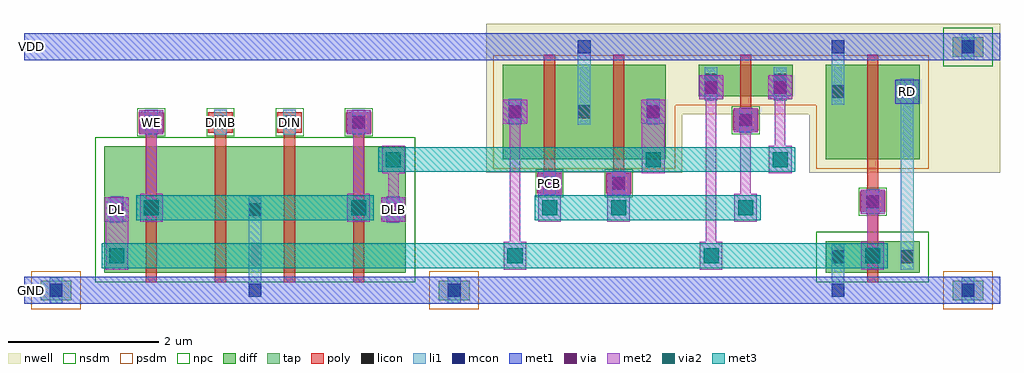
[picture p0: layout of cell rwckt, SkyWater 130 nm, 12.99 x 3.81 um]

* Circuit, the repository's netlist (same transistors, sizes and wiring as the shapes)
.subckt rwckt dl dlb we din dinb pcb rd vdd vss
XXPD1 dl pcb vdd vdd sky130_fd_pr__pfet_01v8 L=0.15 W=1.26 nf=1 m=1
XXPD2 dlb pcb vdd vdd sky130_fd_pr__pfet_01v8 L=0.15 W=1.26 nf=1 m=1
XXPE dl pcb dlb vdd sky130_fd_pr__pfet_01v8 L=0.15 W=0.42 nf=1 m=1
XXW1 dl we w1 vss sky130_fd_pr__nfet_01v8 L=0.15 W=1.68 nf=1 m=1
XXW2 w1 dinb vss vss sky130_fd_pr__nfet_01v8 L=0.15 W=1.68 nf=1 m=1
XXW3 dlb we w2 vss sky130_fd_pr__nfet_01v8 L=0.15 W=1.68 nf=1 m=1
XXW4 w2 din vss vss sky130_fd_pr__nfet_01v8 L=0.15 W=1.68 nf=1 m=1
XXSA_XP rd dl vdd vdd sky130_fd_pr__pfet_01v8 L=0.15 W=1.26 nf=1 m=1
XXSA_XN rd dl vss vss sky130_fd_pr__nfet_01v8 L=0.15 W=0.42 nf=1 m=1
.ends

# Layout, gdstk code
import gdstk
lib = gdstk.Library(unit=1e-6, precision=1e-09)
def R(c, l, rs):  # rectangles x0, y0, x1, y1
    for r in rs: c.add(gdstk.rectangle(r[:2], r[2:], *l))
def A(c, l, x, y, w, h, nx, ny, dx, dy):  # array of equal rectangles
    R(c, l, [(x+i*dx, y+j*dy, x+i*dx+w, y+j*dy+h) for i in range(nx) for j in range(ny)])
nwell = (64, 20)
diff = (65, 20)
tap = (65, 44)
poly = (66, 20)
licon = (66, 44)
li1 = (67, 20)
mcon = (67, 44)
met1 = (68, 20)
via = (68, 44)
met2 = (69, 20)
via2 = (69, 44)
met3 = (70, 20)
nsdm = (93, 44)
psdm = (94, 20)
npc = (95, 20)

tap_ = lib.new_cell('tap')
R(tap_, nwell, [(0,2.1,0.85,3.55)])
R(tap_, tap, [(0.22,-0.13,0.63,0.13), (0.22,3.11,0.63,3.37)])
R(tap_, licon, [(0.34,-0.085,0.51,0.085), (0.34,3.155,0.51,3.325)])
R(tap_, li1, [(0.34,-0.175,0.51,0.175), (0.34,3.065,0.51,3.415)])
R(tap_, mcon, [(0.34,-0.085,0.51,0.085), (0.34,3.155,0.51,3.325)])
R(tap_, met1, [(0,-0.18,0.85,0.18), (0,3.06,0.85,3.42)])
R(tap_, nsdm, [(0.095,2.985,0.755,3.495)])
R(tap_, psdm, [(0.095,-0.255,0.755,0.255)])
tap_.add(gdstk.Label('VDD', (0.1,3.24), layer=68, texttype=5))
tap_.add(gdstk.Label('GND', (0.1,0), layer=68, texttype=5))

rw_sa = lib.new_cell('rw_sa')
R(rw_sa, nwell, [(0,1.565,1.69,3.55)])
R(rw_sa, diff, [(0.22,0.235,1.47,0.655), (0.22,1.745,1.47,3.005)])
R(rw_sa, poly, [(0.77,0.105,0.92,1.045), (0.68,1.045,1.01,1.315), (0.77,1.315,0.92,3.135)])
R(rw_sa, licon, [(0.3,0.36,0.47,0.53), (1.22,0.36,1.39,0.53), (0.76,1.095,0.93,1.265), (0.3,2.56,0.47,2.73), (1.22,2.56,1.39,2.73)])
R(rw_sa, li1, [(0.3,-0.085,0.47,0.62), (1.22,0.27,1.39,2.82), (0.76,1.015,0.93,1.345), (0.3,2.47,0.47,3.325)])
R(rw_sa, mcon, [(0.3,-0.085,0.47,0.085), (1.22,2.56,1.39,2.73), (0.3,3.155,0.47,3.325)])
R(rw_sa, met1, [(0,-0.18,1.69,0.18), (1.145,2.485,1.465,2.805), (0,3.06,1.69,3.42)])
R(rw_sa, nsdm, [(0.095,0.11,1.595,0.78)])
R(rw_sa, psdm, [(0.095,1.62,1.595,3.13)])
R(rw_sa, npc, [(0.66,0.995,1.03,1.365)])
rw_sa.add(gdstk.Label('A', (0.845,1.18), layer=67, texttype=5))
rw_sa.add(gdstk.Label('Y', (1.305,2.645), layer=68, texttype=5))
rw_sa.add(gdstk.Label('VDD', (0.1,3.24), layer=68, texttype=5))
rw_sa.add(gdstk.Label('GND', (0.1,0), layer=68, texttype=5))

rw_eq = lib.new_cell('rw_eq')
R(rw_eq, nwell, [(0,2.34,1.69,3.55)])
R(rw_eq, diff, [(0.22,2.585,1.47,3.005)])
R(rw_eq, poly, [(0.68,2.13,1.01,2.4), (0.77,2.4,0.92,3.135)])
R(rw_eq, licon, [(0.76,2.18,0.93,2.35), (0.3,2.71,0.47,2.88), (1.22,2.71,1.39,2.88)])
R(rw_eq, li1, [(0.76,2.1,0.93,2.43), (0.3,2.525,0.47,2.97), (1.22,2.525,1.39,2.97)])
R(rw_eq, met1, [(0,-0.18,1.69,0.18), (0,3.06,1.69,3.42)])
R(rw_eq, psdm, [(0.095,2.46,1.595,3.13)])
R(rw_eq, npc, [(0.66,2.08,1.03,2.45)])
rw_eq.add(gdstk.Label('PCB', (0.845,2.265), layer=67, texttype=5))
rw_eq.add(gdstk.Label('DL', (0.385,2.7), layer=67, texttype=5))
rw_eq.add(gdstk.Label('DLB', (1.305,2.7), layer=67, texttype=5))
rw_eq.add(gdstk.Label('VDD', (0.1,3.24), layer=68, texttype=5))
rw_eq.add(gdstk.Label('GND', (0.1,0), layer=68, texttype=5))

rw_pre = lib.new_cell('rw_pre')
R(rw_pre, nwell, [(0,1.565,2.61,3.55)])
R(rw_pre, diff, [(0.22,1.745,2.39,3.005)])
R(rw_pre, poly, [(0.68,1.29,1.01,1.56), (1.6,1.29,1.93,1.56), (0.77,1.56,0.92,3.135), (1.69,1.56,1.84,3.135)])
A(rw_pre, licon, 0.3, 2.29, 0.17, 0.17, 3, 1, 0.92, 0)
R(rw_pre, licon, [(0.76,1.34,0.93,1.51), (1.68,1.34,1.85,1.51)])
R(rw_pre, li1, [(0.76,1.26,0.93,1.59), (1.68,1.26,1.85,1.59), (0.3,2.2,0.47,2.55), (1.22,2.2,1.39,3.325), (2.14,2.2,2.31,2.55)])
R(rw_pre, mcon, [(1.22,3.155,1.39,3.325)])
R(rw_pre, met1, [(0,-0.18,2.61,0.18), (0,3.06,2.61,3.42)])
R(rw_pre, psdm, [(0.095,1.62,2.515,3.13)])
R(rw_pre, npc, [(0.66,1.24,1.03,1.61), (1.58,1.24,1.95,1.61)])
rw_pre.add(gdstk.Label('PCB', (0.845,1.425), layer=67, texttype=5))
rw_pre.add(gdstk.Label('DL', (0.385,2.375), layer=67, texttype=5))
rw_pre.add(gdstk.Label('DLB', (2.225,2.375), layer=67, texttype=5))
rw_pre.add(gdstk.Label('VDD', (0.1,3.24), layer=68, texttype=5))
rw_pre.add(gdstk.Label('GND', (0.1,0), layer=68, texttype=5))
rw_pre.add(gdstk.Label('PCB_uq0', (1.765,1.425), layer=67, texttype=5))

ptap = lib.new_cell('ptap')
R(ptap, tap, [(0.22,-0.13,0.63,0.13)])
R(ptap, licon, [(0.34,-0.085,0.51,0.085)])
R(ptap, li1, [(0.34,-0.175,0.51,0.175)])
R(ptap, mcon, [(0.34,-0.085,0.51,0.085)])
R(ptap, met1, [(0,-0.18,0.85,0.18), (0,3.06,0.85,3.42)])
R(ptap, psdm, [(0.095,-0.255,0.755,0.255)])
ptap.add(gdstk.Label('VDD', (0.1,3.24), layer=68, texttype=5))
ptap.add(gdstk.Label('GND', (0.1,0), layer=68, texttype=5))

rw_wr = lib.new_cell('rw_wr')
R(rw_wr, diff, [(0.22,0.235,4.23,1.915)])
A(rw_wr, poly, 0.77, 0.105, 0.15, 1.995, 4, 1, 0.92, 0)
A(rw_wr, poly, 0.68, 2.1, 0.33, 0.27, 4, 1, 0.92, 0)
A(rw_wr, licon, 0.3, 0.99, 0.17, 0.17, 3, 1, 1.84, 0)
A(rw_wr, licon, 0.76, 2.15, 0.17, 0.17, 4, 1, 0.92, 0)
A(rw_wr, li1, 0.76, 2.07, 0.17, 0.33, 4, 1, 0.92, 0)
R(rw_wr, li1, [(2.14,-0.085,2.31,1.25), (0.3,0.9,0.47,1.25), (3.98,0.9,4.15,1.25)])
R(rw_wr, mcon, [(2.14,-0.085,2.31,0.085)])
R(rw_wr, met1, [(0,-0.18,4.45,0.18), (0,3.06,4.45,3.42)])
R(rw_wr, nsdm, [(0.095,0.11,4.355,2.04)])
A(rw_wr, npc, 0.66, 2.05, 0.37, 0.37, 4, 1, 0.92, 0)
rw_wr.add(gdstk.Label('WE', (0.845,2.235), layer=67, texttype=5))
rw_wr.add(gdstk.Label('DINB', (1.765,2.235), layer=67, texttype=5))
rw_wr.add(gdstk.Label('DIN', (2.685,2.235), layer=67, texttype=5))
rw_wr.add(gdstk.Label('DL', (0.385,1.075), layer=67, texttype=5))
rw_wr.add(gdstk.Label('DLB', (4.065,1.075), layer=67, texttype=5))
rw_wr.add(gdstk.Label('VDD', (0.1,3.24), layer=68, texttype=5))
rw_wr.add(gdstk.Label('GND', (0.1,0), layer=68, texttype=5))
rw_wr.add(gdstk.Label('WE_uq0', (3.605,2.235), layer=67, texttype=5))

rwckt = lib.new_cell('rwckt')
R(rwckt, nwell, [(12.14,1.565,12.99,2.2)])
A(rwckt, li1, 1.61, 2.15, 0.17, 0.17, 4, 1, 0.92, 0)
R(rwckt, li1, [(1.15,0.99,1.32,1.16), (4.83,0.99,5,1.16), (11.21,1.095,11.38,1.265), (6.91,1.34,7.08,1.51), (7.83,1.34,8,1.51), (9.52,2.18,9.69,2.35), (6.45,2.29,6.62,2.46), (8.29,2.29,8.46,2.46), (9.06,2.615,9.23,2.785), (9.98,2.615,10.15,2.785)])
R(rwckt, mcon, [(1.15,0.99,1.32,1.16), (4.83,0.99,5,1.16), (11.21,1.095,11.38,1.265), (6.91,1.34,7.08,1.51), (7.83,1.34,8,1.51), (1.61,2.15,1.78,2.32), (4.37,2.15,4.54,2.32), (9.52,2.18,9.69,2.35), (6.45,2.29,6.62,2.46), (8.29,2.29,8.46,2.46), (9.06,2.615,9.23,2.785), (9.98,2.615,10.15,2.785)])
R(rwckt, met1, [(0.015,-0.085,0.185,0.085), (1.075,0.915,1.395,1.235), (4.755,0.915,5.075,1.235), (11.135,1.02,11.455,1.34), (6.835,1.265,7.155,1.585), (7.755,1.265,8.075,1.585), (1.535,2.075,1.855,2.395), (4.295,2.075,4.615,2.395), (9.445,2.105,9.765,2.425), (6.375,2.215,6.695,2.535), (8.215,2.215,8.535,2.535), (8.985,2.54,9.305,2.86), (9.905,2.54,10.225,2.86), (11.67,2.56,11.84,2.73), (0.015,3.155,0.185,3.325)])
R(rwckt, via, [(1.16,1,1.31,1.15), (4.84,1,4.99,1.15), (11.22,1.105,11.37,1.255), (6.92,1.35,7.07,1.5), (7.84,1.35,7.99,1.5), (1.62,2.16,1.77,2.31), (4.38,2.16,4.53,2.31), (9.53,2.19,9.68,2.34), (6.46,2.3,6.61,2.45), (8.3,2.3,8.45,2.45), (9.07,2.625,9.22,2.775), (9.99,2.625,10.14,2.775)])
R(rwckt, met2, [(1.085,0.275,1.385,0.915), (6.385,0.275,6.685,0.645), (8.995,0.275,9.295,0.645), (11.145,0.275,11.445,0.645), (6.465,0.645,6.605,2.215), (9.075,0.645,9.215,2.54), (11.225,0.645,11.365,1.02), (1.075,0.915,1.395,1.235), (1.545,0.915,1.845,1.285), (4.305,0.915,4.605,1.285), (4.755,0.915,5.075,1.235), (6.845,0.915,7.145,1.265), (7.765,0.915,8.065,1.265), (9.455,0.915,9.755,1.285), (11.135,1.02,11.455,1.34), (4.845,1.235,4.985,1.555), (6.835,1.265,7.155,1.585), (7.755,1.265,8.075,1.585), (1.625,1.285,1.765,2.075), (4.385,1.285,4.525,2.075), (9.535,1.285,9.675,2.105), (4.765,1.555,5.065,1.925), (8.225,1.555,8.525,2.215), (9.915,1.555,10.215,1.925), (9.995,1.925,10.135,2.54), (1.535,2.075,1.855,2.395), (4.295,2.075,4.615,2.395), (9.445,2.105,9.765,2.425), (6.375,2.215,6.695,2.535), (8.215,2.215,8.535,2.535), (8.985,2.54,9.305,2.86), (9.905,2.54,10.225,2.86)])
R(rwckt, via2, [(1.135,0.36,1.335,0.56), (6.435,0.36,6.635,0.56), (9.045,0.36,9.245,0.56), (11.195,0.36,11.395,0.56), (1.595,1,1.795,1.2), (4.355,1,4.555,1.2), (6.895,1,7.095,1.2), (7.815,1,8.015,1.2), (9.505,1,9.705,1.2), (4.815,1.64,5.015,1.84), (8.275,1.64,8.475,1.84), (9.965,1.64,10.165,1.84)])
R(rwckt, met3, [(1.035,0.295,11.495,0.625), (1.495,0.935,4.655,1.265), (6.795,0.935,9.805,1.265), (4.715,1.575,10.265,1.905)])
R(rwckt, psdm, [(8.665,2.46,8.855,3.13), (10.355,2.46,10.545,3.13)])
rwckt.add(gdstk.Reference(tap_, (12.14,0)))
rwckt.add(gdstk.Reference(rw_sa, (10.45,0)))
rwckt.add(gdstk.Reference(rw_eq, (8.76,0)))
rwckt.add(gdstk.Reference(rw_pre, (6.15,0)))
rwckt.add(gdstk.Reference(ptap, (5.3,0)))
rwckt.add(gdstk.Reference(rw_wr, (0.85,0)))
rwckt.add(gdstk.Reference(ptap, (0,0)))
rwckt.add(gdstk.Label('DIN', (3.535,2.235), layer=67, texttype=5))
rwckt.add(gdstk.Label('DINB', (2.615,2.235), layer=67, texttype=5))
rwckt.add(gdstk.Label('RD', (11.755,2.645), layer=68, texttype=5))
rwckt.add(gdstk.Label('DL', (1.235,1.075), layer=68, texttype=5))
rwckt.add(gdstk.Label('DLB', (4.915,1.075), layer=68, texttype=5))
rwckt.add(gdstk.Label('WE', (1.695,2.235), layer=68, texttype=5))
rwckt.add(gdstk.Label('PCB', (6.995,1.425), layer=68, texttype=5))
rwckt.add(gdstk.Label('VDD', (0.1,3.24), layer=68, texttype=5))
rwckt.add(gdstk.Label('GND', (0.1,0), layer=68, texttype=5))

lib.write_gds('rwckt.gds')
